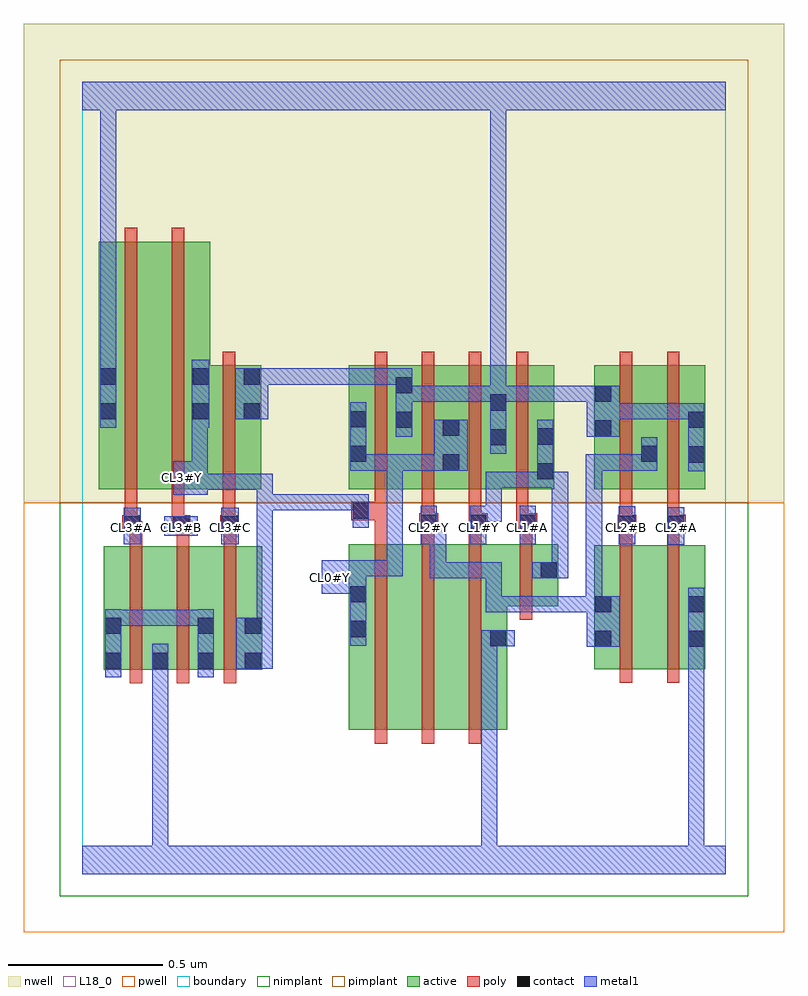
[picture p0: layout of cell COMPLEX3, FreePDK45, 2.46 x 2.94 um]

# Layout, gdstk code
import gdstk
lib = gdstk.Library(unit=1e-6, precision=1e-09)
def R(c, l, rs):  # rectangles x0, y0, x1, y1
    for r in rs: c.add(gdstk.rectangle(r[:2], r[2:], *l))
def A(c, l, x, y, w, h, nx, ny, dx, dy):  # array of equal rectangles
    R(c, l, [(x+i*dx, y+j*dy, x+i*dx+w, y+j*dy+h) for i in range(nx) for j in range(ny)])
active = (1, 0)
pwell = (2, 0)
nwell = (3, 0)
nimplant = (4, 0)
pimplant = (5, 0)
poly = (9, 0)
contact = (10, 0)
metal1 = (11, 0)
L18_0 = (18, 0)
boundary = (235, 0)

complex3 = lib.new_cell('COMPLEX3')
A(complex3, active, 1.01, 1.244, 0.06, 0.4, 4, 1, 0.152, 0)
A(complex3, active, 1.01, 1.244, 0.212, 0.4, 3, 1, 0.152, 0)
R(complex3, active, [(0.862,0.466,1.042,1.066), (1.042,0.466,1.194,1.066), (1.194,0.466,1.374,1.066), (1.314,0.466,1.374,0.866), (0.862,0.556,0.922,1.066), (0.07,0.66,0.13,1.06), (0.07,0.66,0.282,1.06), (0.222,0.66,0.43,1.06), (0.222,0.66,0.282,0.72), (0.37,0.66,0.43,1.06), (0.37,0.66,0.582,1.06), (0.522,0.66,0.582,1.06), (1.654,0.662,1.714,1.062), (1.654,0.662,1.834,1.062), (1.834,0.662,2.014,1.062), (1.954,0.662,2.014,1.062), (1.314,0.866,1.538,1.066), (1.478,0.866,1.538,1.066), (0.054,1.244,0.234,2.044), (0.054,1.244,0.114,2.044), (0.234,1.244,0.414,2.044), (0.354,1.244,0.578,1.644), (0.518,1.244,0.578,1.644), (0.862,1.244,0.922,1.644), (0.862,1.244,1.07,1.644), (1.654,1.244,1.714,1.644), (1.654,1.244,1.862,1.644), (1.802,1.244,2.014,1.644), (1.954,1.244,2.014,1.644), (1.802,1.328,1.862,1.644), (0.354,1.466,0.414,1.644)])
R(complex3, pwell, [(-0.188,-0.188,2.268,1.2)])
R(complex3, nwell, [(-0.188,1.2,2.268,2.748)])
R(complex3, nimplant, [(-0.072,-0.072,2.152,1.2)])
R(complex3, pimplant, [(-0.072,1.2,2.152,2.632)])
A(complex3, poly, 0.946, 0.422, 0.04, 0.688, 3, 1, 0.152, 0)
A(complex3, poly, 0.154, 0.616, 0.04, 0.488, 3, 1, 0.152, 0)
A(complex3, poly, 0.154, 1.064, 0.04, 0.076, 3, 1, 0.152, 0)
A(complex3, poly, 1.09, 1.106, 0.06, 0.06, 3, 1, 0.16, 0)
A(complex3, poly, 1.098, 1.126, 0.04, 0.114, 3, 1, 0.152, 0)
A(complex3, poly, 0.946, 1.2, 0.04, 0.488, 4, 1, 0.152, 0)
R(complex3, poly, [(1.738,0.618,1.778,1.106), (1.89,0.618,1.93,1.106), (1.414,0.822,1.454,1.11), (1.738,1.066,1.778,1.142), (1.89,1.066,1.93,1.142), (0.946,1.07,0.986,1.184), (1.098,1.07,1.138,1.146), (1.25,1.07,1.29,1.146), (1.414,1.07,1.454,1.146), (0.13,1.1,0.19,1.16), (0.15,1.1,0.19,1.14), (0.15,1.1,0.194,1.14), (0.29,1.1,0.35,1.16), (0.446,1.1,0.506,1.16), (1.73,1.102,1.79,1.162), (1.89,1.102,1.95,1.162), (1.25,1.106,1.29,1.146), (1.25,1.106,1.29,1.146), (0.138,1.12,0.178,1.24), (0.29,1.12,0.33,1.16), (0.29,1.12,0.33,1.16), (0.29,1.12,0.33,1.24), (0.454,1.12,0.494,1.16), (0.454,1.12,0.494,1.16), (0.454,1.12,0.494,1.24), (1.738,1.122,1.778,1.24), (1.738,1.122,1.778,1.162), (1.738,1.122,1.778,1.162), (1.89,1.122,1.93,1.24), (1.89,1.122,1.93,1.162), (1.89,1.122,1.93,1.162), (1.098,1.126,1.138,1.166), (1.098,1.126,1.138,1.166), (1.402,1.126,1.45,1.166), (1.41,1.126,1.45,1.166), (0.87,1.144,0.986,1.204), (0.946,1.144,0.986,1.184), (0.946,1.144,0.986,1.184), (0.946,1.164,0.986,1.24), (0.138,1.2,0.178,2.088), (0.29,1.2,0.33,2.088), (0.454,1.2,0.494,1.688), (1.738,1.2,1.778,1.688), (1.89,1.2,1.93,1.688)])
A(complex3, contact, 1.094, 1.11, 0.052, 0.052, 3, 1, 0.16, 0)
R(complex3, contact, [(0.074,0.664,0.126,0.716), (0.226,0.664,0.278,0.716), (0.374,0.664,0.426,0.716), (0.526,0.664,0.578,0.716), (1.658,0.734,1.71,0.786), (1.958,0.734,2.01,0.786), (1.318,0.736,1.37,0.788), (0.866,0.766,0.918,0.818), (0.074,0.776,0.126,0.828), (0.374,0.776,0.426,0.828), (0.526,0.776,0.578,0.828), (1.658,0.846,1.71,0.898), (1.958,0.846,2.01,0.898), (0.866,0.878,0.918,0.93), (1.482,0.956,1.534,1.008), (0.134,1.104,0.186,1.156), (0.294,1.104,0.346,1.156), (0.45,1.104,0.502,1.156), (1.734,1.106,1.786,1.158), (1.894,1.106,1.946,1.158), (0.874,1.148,0.926,1.2), (1.47,1.276,1.522,1.328), (1.166,1.304,1.218,1.356), (1.958,1.33,2.01,1.382), (0.866,1.332,0.918,1.384), (1.806,1.332,1.858,1.384), (1.318,1.386,1.37,1.438), (1.47,1.388,1.522,1.44), (1.658,1.414,1.71,1.466), (1.166,1.416,1.218,1.468), (1.014,1.442,1.066,1.494), (1.958,1.442,2.01,1.494), (0.866,1.444,0.918,1.496), (0.058,1.47,0.11,1.522), (0.358,1.47,0.41,1.522), (0.522,1.47,0.574,1.522), (1.318,1.498,1.37,1.55), (1.658,1.526,1.71,1.578), (1.014,1.554,1.066,1.606), (0.058,1.582,0.11,1.634), (0.358,1.582,0.41,1.634), (0.522,1.582,0.574,1.634)])
A(complex3, metal1, 1.094, 1.066, 0.052, 0.124, 3, 1, 0.16, 0)
R(complex3, metal1, [(0,0,2.08,0.092), (0.226,0.04,0.278,0.092), (0.226,0.04,0.278,0.092), (0.226,0.04,0.278,0.566), (1.29,0.04,1.342,0.092), (1.29,0.04,1.342,0.092), (1.29,0.04,1.342,0.092), (1.29,0.04,1.342,0.092), (1.29,0.04,1.342,0.092), (1.29,0.04,1.342,0.092), (1.29,0.04,1.342,0.092), (1.29,0.04,1.342,0.092), (1.29,0.04,1.342,0.788), (1.958,0.04,2.01,0.092), (1.958,0.04,2.01,0.092), (1.958,0.04,2.01,0.092), (1.958,0.04,2.01,0.092), (1.958,0.04,2.01,0.092), (1.958,0.04,2.01,0.092), (1.958,0.04,2.01,0.092), (1.958,0.04,2.01,0.092), (1.958,0.04,2.01,0.092), (1.958,0.04,2.01,0.092), (1.958,0.04,2.01,0.092), (1.958,0.04,2.01,0.092), (1.958,0.04,2.01,0.758), (0.226,0.514,0.278,0.566), (0.226,0.514,0.278,0.566), (0.226,0.514,0.278,0.566), (0.226,0.514,0.278,0.566), (0.226,0.514,0.278,0.566), (0.226,0.514,0.278,0.566), (0.226,0.514,0.278,0.566), (0.226,0.514,0.278,0.566), (0.226,0.514,0.278,0.566), (0.226,0.514,0.278,0.688), (0.074,0.636,0.126,0.856), (0.226,0.636,0.278,0.744), (0.374,0.636,0.426,0.856), (0.498,0.664,0.616,0.828), (1.958,0.706,2.01,0.926), (1.63,0.734,1.738,0.898), (1.29,0.736,1.398,0.788), (0.866,0.738,0.918,0.958), (0.564,0.776,0.616,0.828), (0.564,0.776,0.616,0.828), (0.564,0.776,0.616,1.228), (0.074,0.802,0.126,0.854), (0.074,0.802,0.126,0.854), (0.074,0.802,0.236,0.854), (0.184,0.802,0.236,0.854), (0.184,0.802,0.236,0.854), (0.184,0.802,0.236,0.854), (0.184,0.802,0.426,0.854), (1.304,0.846,1.356,0.898), (1.304,0.846,1.57,0.898), (1.304,0.846,1.356,1.008), (1.518,0.846,1.57,0.898), (1.518,0.846,1.57,0.898), (1.518,0.846,1.57,0.898), (1.518,0.846,1.682,0.898), (1.628,0.846,1.68,0.898), (1.628,0.846,1.68,0.898), (1.628,0.846,1.68,0.898), (1.628,0.846,1.68,0.898), (1.628,0.846,1.68,1.356), (1.628,0.846,1.682,0.898), (1.63,0.846,1.682,0.898), (0.774,0.906,0.918,1.014), (0.866,0.906,0.918,0.958), (1.124,0.956,1.176,1.118), (1.124,0.956,1.356,1.008), (1.304,0.956,1.356,1.008), (1.304,0.956,1.356,1.008), (1.304,0.956,1.356,1.008), (1.304,0.956,1.356,1.008), (1.304,0.956,1.356,1.008), (1.454,0.956,1.57,1.008), (1.518,0.956,1.57,1.008), (1.518,0.956,1.57,1.008), (1.518,0.956,1.57,1.3), (0.866,0.962,0.918,1.014), (0.866,0.962,0.918,1.014), (0.866,0.962,1.036,1.014), (0.984,0.962,1.036,1.014), (0.984,0.962,1.036,1.014), (0.984,0.962,1.036,1.014), (0.984,0.962,1.036,1.356), (1.892,1.064,1.946,1.186), (0.134,1.066,0.19,1.184), (0.45,1.066,0.506,1.184), (1.094,1.066,1.176,1.118), (1.734,1.066,1.788,1.188), (0.266,1.094,0.374,1.156), (0.874,1.12,0.926,1.228), (1.254,1.138,1.356,1.19), (1.304,1.138,1.356,1.3), (0.564,1.176,0.926,1.228), (0.564,1.176,0.616,1.294), (0.874,1.176,0.926,1.228), (0.874,1.176,0.926,1.228), (0.294,1.226,0.406,1.334), (0.354,1.242,0.406,1.294), (0.354,1.242,0.406,1.294), (0.354,1.242,0.616,1.294), (1.304,1.248,1.522,1.3), (1.47,1.248,1.522,1.3), (1.47,1.248,1.522,1.3), (1.47,1.248,1.522,1.3), (1.47,1.248,1.522,1.468), (1.47,1.248,1.57,1.3), (0.354,1.282,0.406,1.494), (1.958,1.302,2.01,1.522), (0.866,1.304,0.918,1.356), (0.866,1.304,0.918,1.356), (0.866,1.304,0.918,1.524), (0.866,1.304,1.036,1.356), (0.984,1.304,1.036,1.356), (0.984,1.304,1.036,1.356), (0.984,1.304,1.036,1.356), (0.984,1.304,1.19,1.356), (1.138,1.304,1.246,1.468), (1.628,1.304,1.68,1.356), (1.628,1.304,1.68,1.356), (1.628,1.304,1.68,1.356), (1.628,1.304,1.858,1.356), (1.806,1.304,1.858,1.412), (1.318,1.358,1.37,1.578), (1.014,1.414,1.066,1.634), (1.63,1.414,1.738,1.578), (0.058,1.442,0.11,1.662), (0.354,1.442,0.41,1.662), (0.494,1.47,0.602,1.634), (1.686,1.47,1.738,1.522), (1.686,1.47,1.738,1.522), (1.686,1.47,1.848,1.522), (1.796,1.47,1.848,1.522), (1.796,1.47,2.01,1.522), (1.958,1.47,2.01,1.522), (1.958,1.47,2.01,1.522), (1.014,1.526,1.066,1.578), (1.014,1.526,1.066,1.578), (1.014,1.526,1.176,1.578), (1.124,1.526,1.176,1.578), (1.124,1.526,1.356,1.578), (1.304,1.526,1.356,1.578), (1.304,1.526,1.37,1.578), (1.318,1.526,1.57,1.578), (1.318,1.526,1.37,2.52), (1.518,1.526,1.57,1.578), (1.518,1.526,1.57,1.578), (1.518,1.526,1.57,1.578), (1.518,1.526,1.682,1.578), (0.55,1.582,0.616,1.634), (0.564,1.582,0.616,1.634), (0.564,1.582,0.926,1.634), (0.874,1.582,0.926,1.634), (0.874,1.582,1.066,1.634), (0.058,1.61,0.11,1.662), (0.058,1.61,0.11,1.662), (0.058,1.61,0.11,1.662), (0.058,1.61,0.11,1.662), (0.058,1.61,0.11,1.662), (0.058,1.61,0.11,1.662), (0.058,1.61,0.11,1.662), (0.058,1.61,0.11,1.662), (0.058,1.61,0.11,2.52), (0,2.468,2.08,2.56), (1.318,2.468,1.37,2.52), (1.318,2.468,1.37,2.52), (1.318,2.468,1.37,2.52), (1.318,2.468,1.37,2.52), (1.318,2.468,1.37,2.52), (1.318,2.468,1.37,2.52), (1.318,2.468,1.37,2.52), (1.318,2.468,1.37,2.52), (1.318,2.468,1.37,2.52), (1.318,2.468,1.37,2.52), (1.318,2.468,1.37,2.52), (1.318,2.468,1.37,2.52), (1.318,2.468,1.37,2.52), (1.318,2.468,1.37,2.52), (1.318,2.468,1.37,2.52), (1.318,2.468,1.37,2.52)])
A(complex3, L18_0, 1.094, 1.066, 0.052, 0.124, 3, 1, 0.16, 0)
A(complex3, L18_0, 0.134, 1.094, 0.052, 0.052, 3, 1, 0.16, 0)
A(complex3, L18_0, 1.094, 1.094, 0.052, 0.052, 3, 1, 0.16, 0)
R(complex3, L18_0, [(0,0,2.08,0.092), (0.226,0.04,0.278,0.092), (0.226,0.04,0.278,0.092), (0.226,0.04,0.278,0.566), (1.29,0.04,1.342,0.092), (1.29,0.04,1.342,0.092), (1.29,0.04,1.342,0.092), (1.29,0.04,1.342,0.092), (1.29,0.04,1.342,0.092), (1.29,0.04,1.342,0.092), (1.29,0.04,1.342,0.092), (1.29,0.04,1.342,0.092), (1.29,0.04,1.342,0.788), (1.958,0.04,2.01,0.092), (1.958,0.04,2.01,0.092), (1.958,0.04,2.01,0.092), (1.958,0.04,2.01,0.092), (1.958,0.04,2.01,0.092), (1.958,0.04,2.01,0.092), (1.958,0.04,2.01,0.092), (1.958,0.04,2.01,0.092), (1.958,0.04,2.01,0.092), (1.958,0.04,2.01,0.092), (1.958,0.04,2.01,0.092), (1.958,0.04,2.01,0.092), (1.958,0.04,2.01,0.758), (0.226,0.514,0.278,0.566), (0.226,0.514,0.278,0.566), (0.226,0.514,0.278,0.566), (0.226,0.514,0.278,0.566), (0.226,0.514,0.278,0.566), (0.226,0.514,0.278,0.566), (0.226,0.514,0.278,0.566), (0.226,0.514,0.278,0.566), (0.226,0.514,0.278,0.566), (0.226,0.514,0.278,0.688), (0.226,0.636,0.278,0.744), (0.498,0.664,0.616,0.828), (1.958,0.706,2.01,0.926), (1.63,0.734,1.738,0.898), (1.29,0.736,1.398,0.788), (0.866,0.738,0.918,0.958), (0.564,0.776,0.616,0.828), (0.564,0.776,0.616,0.828), (0.564,0.776,0.616,1.228), (1.304,0.846,1.356,0.898), (1.304,0.846,1.356,1.008), (1.304,0.846,1.57,0.898), (1.518,0.846,1.57,0.898), (1.518,0.846,1.57,0.898), (1.518,0.846,1.57,0.898), (1.518,0.846,1.682,0.898), (1.628,0.846,1.68,0.898), (1.628,0.846,1.68,0.898), (1.628,0.846,1.68,0.898), (1.628,0.846,1.68,0.898), (1.628,0.846,1.682,0.898), (1.628,0.846,1.68,1.356), (1.63,0.846,1.682,0.898), (0.774,0.906,0.918,1.014), (0.866,0.906,0.918,0.958), (0.774,0.934,0.826,0.986), (1.124,0.956,1.176,1.118), (1.124,0.956,1.356,1.008), (1.304,0.956,1.356,1.008), (1.304,0.956,1.356,1.008), (1.304,0.956,1.356,1.008), (1.304,0.956,1.356,1.008), (1.304,0.956,1.356,1.008), (1.454,0.956,1.57,1.008), (1.518,0.956,1.57,1.008), (1.518,0.956,1.57,1.008), (1.518,0.956,1.57,1.3), (0.866,0.962,0.918,1.014), (0.866,0.962,0.918,1.014), (0.866,0.962,1.036,1.014), (0.984,0.962,1.036,1.014), (0.984,0.962,1.036,1.014), (0.984,0.962,1.036,1.014), (0.984,0.962,1.036,1.356), (1.892,1.064,1.946,1.186), (0.134,1.066,0.19,1.184), (0.45,1.066,0.506,1.184), (1.094,1.066,1.176,1.118), (1.734,1.066,1.788,1.188), (0.266,1.094,0.374,1.156), (1.734,1.094,1.786,1.146), (1.894,1.094,1.946,1.146), (0.874,1.12,0.926,1.228), (1.254,1.138,1.356,1.19), (1.304,1.138,1.356,1.3), (0.564,1.176,0.616,1.294), (0.564,1.176,0.926,1.228), (0.874,1.176,0.926,1.228), (0.874,1.176,0.926,1.228), (0.294,1.226,0.406,1.334), (0.354,1.242,0.406,1.294), (0.354,1.242,0.406,1.294), (0.354,1.242,0.616,1.294), (1.304,1.248,1.522,1.3), (1.47,1.248,1.522,1.468), (1.47,1.248,1.522,1.3), (1.47,1.248,1.522,1.3), (1.47,1.248,1.522,1.3), (1.47,1.248,1.57,1.3), (0.294,1.254,0.346,1.306), (0.354,1.282,0.406,1.494), (1.958,1.302,2.01,1.522), (0.866,1.304,0.918,1.524), (0.866,1.304,0.918,1.356), (0.866,1.304,0.918,1.356), (0.866,1.304,1.036,1.356), (0.984,1.304,1.036,1.356), (0.984,1.304,1.036,1.356), (0.984,1.304,1.036,1.356), (0.984,1.304,1.19,1.356), (1.138,1.304,1.246,1.468), (1.628,1.304,1.68,1.356), (1.628,1.304,1.68,1.356), (1.628,1.304,1.68,1.356), (1.628,1.304,1.858,1.356), (1.806,1.304,1.858,1.412), (1.318,1.358,1.37,1.578), (1.014,1.414,1.066,1.634), (1.63,1.414,1.738,1.578), (0.058,1.442,0.11,1.662), (0.354,1.442,0.41,1.662), (0.494,1.47,0.602,1.634), (1.686,1.47,1.738,1.522), (1.686,1.47,1.738,1.522), (1.686,1.47,1.848,1.522), (1.796,1.47,1.848,1.522), (1.796,1.47,2.01,1.522), (1.958,1.47,2.01,1.522), (1.958,1.47,2.01,1.522), (1.014,1.526,1.066,1.578), (1.014,1.526,1.066,1.578), (1.014,1.526,1.176,1.578), (1.124,1.526,1.176,1.578), (1.124,1.526,1.356,1.578), (1.304,1.526,1.356,1.578), (1.304,1.526,1.37,1.578), (1.318,1.526,1.37,2.52), (1.318,1.526,1.57,1.578), (1.518,1.526,1.57,1.578), (1.518,1.526,1.57,1.578), (1.518,1.526,1.57,1.578), (1.518,1.526,1.682,1.578), (0.55,1.582,0.616,1.634), (0.564,1.582,0.616,1.634), (0.564,1.582,0.926,1.634), (0.874,1.582,0.926,1.634), (0.874,1.582,1.066,1.634), (0.058,1.61,0.11,1.662), (0.058,1.61,0.11,1.662), (0.058,1.61,0.11,1.662), (0.058,1.61,0.11,1.662), (0.058,1.61,0.11,1.662), (0.058,1.61,0.11,1.662), (0.058,1.61,0.11,1.662), (0.058,1.61,0.11,1.662), (0.058,1.61,0.11,2.52), (0,2.468,2.08,2.56), (1.318,2.468,1.37,2.52), (1.318,2.468,1.37,2.52), (1.318,2.468,1.37,2.52), (1.318,2.468,1.37,2.52), (1.318,2.468,1.37,2.52), (1.318,2.468,1.37,2.52), (1.318,2.468,1.37,2.52), (1.318,2.468,1.37,2.52), (1.318,2.468,1.37,2.52), (1.318,2.468,1.37,2.52), (1.318,2.468,1.37,2.52), (1.318,2.468,1.37,2.52), (1.318,2.468,1.37,2.52), (1.318,2.468,1.37,2.52), (1.318,2.468,1.37,2.52), (1.318,2.468,1.37,2.52)])
R(complex3, boundary, [(0,0,2.08,2.56)])
complex3.add(gdstk.Label('CL0#Y', (0.8,0.96), layer=11, texttype=0))
complex3.add(gdstk.Label('CL1#A', (1.44,1.12), layer=11, texttype=0))
complex3.add(gdstk.Label('CL1#Y', (1.28,1.12), layer=11, texttype=0))
complex3.add(gdstk.Label('CL2#A', (1.92,1.12), layer=11, texttype=0))
complex3.add(gdstk.Label('CL2#B', (1.76,1.12), layer=11, texttype=0))
complex3.add(gdstk.Label('CL2#Y', (1.12,1.12), layer=11, texttype=0))
complex3.add(gdstk.Label('CL3#A', (0.16,1.12), layer=11, texttype=0))
complex3.add(gdstk.Label('CL3#B', (0.32,1.12), layer=11, texttype=0))
complex3.add(gdstk.Label('CL3#C', (0.48,1.12), layer=11, texttype=0))
complex3.add(gdstk.Label('CL3#Y', (0.32,1.28), layer=11, texttype=0))

lib.write_gds('COMPLEX3.gds')
